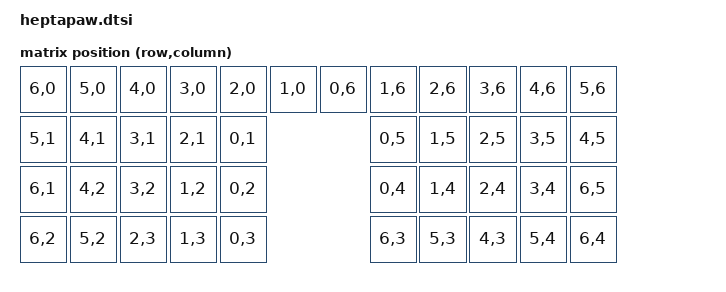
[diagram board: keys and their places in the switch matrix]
#include <dt-bindings/zmk/matrix_transform.h>
#include <zephyr/dt-bindings/gpio/nordic-nrf-gpio.h>

/ {
    chosen {
        zmk,kscan = &kscan0;
        zmk,matrix-transform = &default_transform;
    };

    kscan0: kscan {
        compatible = "zmk,kscan-gpio-charlieplex";
        wakeup-source;

        interrupt-gpios = <&pro_micro 0 (GPIO_ACTIVE_HIGH | GPIO_PULL_DOWN) >;
        gpios
          = <&pro_micro 14 GPIO_ACTIVE_HIGH>
          , <&pro_micro 16 GPIO_ACTIVE_HIGH>
          , <&pro_micro 15 GPIO_ACTIVE_HIGH>
          , <&pro_micro 18 GPIO_ACTIVE_HIGH>
          , <&pro_micro 8 GPIO_ACTIVE_HIGH>
          , <&pro_micro 7 GPIO_ACTIVE_HIGH>
          , <&pro_micro 6 GPIO_ACTIVE_HIGH>
          ; // addressable space is 5x5, (minus paired values)
    };

    default_transform: matrix_transform {
        compatible = "zmk,matrix-transform";
        rows = <7>;
        columns = <7>;
    
        map = <
            RC(6,0) RC(5,0) RC(4,0) RC(3,0) RC(2,0) RC(1,0) RC(0,6) RC(1,6) RC(2,6) RC(3,6) RC(4,6) RC(5,6) 
            RC(5,1) RC(4,1) RC(3,1) RC(2,1) RC(0,1)                 RC(0,5) RC(1,5) RC(2,5) RC(3,5) RC(4,5) 
            RC(6,1) RC(4,2) RC(3,2) RC(1,2) RC(0,2)                 RC(0,4) RC(1,4) RC(2,4) RC(3,4) RC(6,5)
            RC(6,2) RC(5,2) RC(2,3) RC(1,3) RC(0,3)                 RC(6,3) RC(5,3) RC(4,3) RC(5,4) RC(6,4) 
        >;
    };

    trackball_listener: trackball_listener {
        compatible = "zmk,input-listener";
        device = <&trackball>;
    };
};  

&pinctrl {
    spi0_default: spi0_default {
        group1 {
            psels = <NRF_PSEL(SPIM_SCK, 0, 20)>,
                    <NRF_PSEL(SPIM_MOSI, 0, 9)>,
                    <NRF_PSEL(SPIM_MISO, 0, 9)>;
        };
    };

    spi0_sleep: spi0_sleep {
        group1 {
            psels = <NRF_PSEL(SPIM_SCK, 0, 20)>,
                    <NRF_PSEL(SPIM_MOSI, 0, 9)>,
                    <NRF_PSEL(SPIM_MISO, 0, 9)>;
            low-power-enable;
        };
    };
};

&spi0 {
    status = "okay";
    compatible = "nordic,nrf-spim";
    pinctrl-0 = <&spi0_default>;
    pinctrl-1 = <&spi0_sleep>;
    pinctrl-names = "default", "sleep";
    cs-gpios = <&gpio0 6 GPIO_ACTIVE_LOW>;

    trackball: trackball@0 {
        status = "okay";
        compatible = "pixart,paw3222";
        reg = <0>;
        spi-max-frequency = <2000000>;
        irq-gpios = <&gpio0 17 (GPIO_ACTIVE_LOW | GPIO_PULL_UP)>;
    };
};

